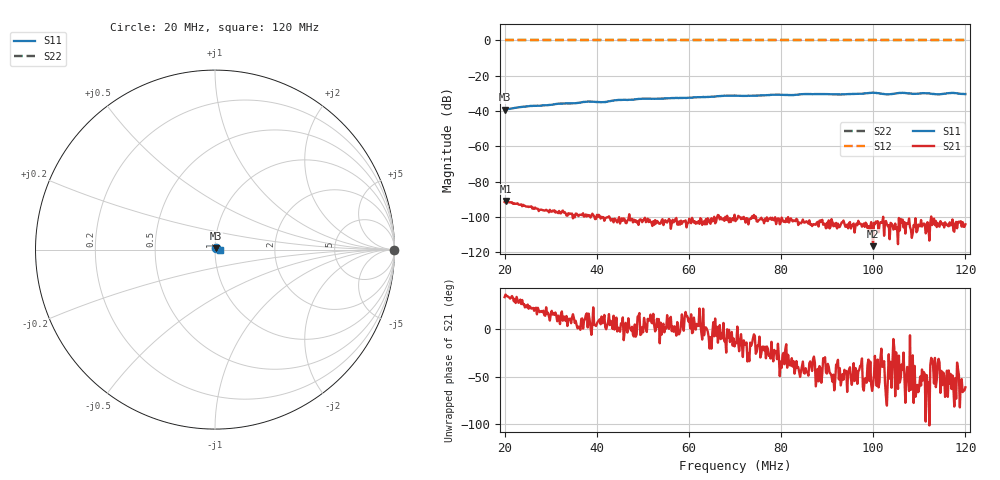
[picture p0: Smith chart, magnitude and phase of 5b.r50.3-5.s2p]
! Anritsu VNA Master:  Model: MS2036C/10/77
! SN:  1601066
! /card0/usr/18may27.balun/5b.r50.3.s2p
! Existing Calibration Information:
! TYPE:  Current Settings,  Active Cal Settings
! TIME:  05/27/2018 04:06:07 PM,  05/27/2018 03:52:12 PM
! INTERNAL TEMP:  51.5 C,  52.5 C
! # POINTS:  500,  500
! START FREQ:  20.000 MHz,  20.000 MHz
! STOP FREQ:  120.000 MHz,  120.000 MHz
! SOURCE POWER:  High,  High
! IFBW:  50 Hz,  50 Hz
! AVG FACTOR:  1 ,  1
! REF PLANE 1:  0 mm,  0 mm
! REF PLANE 2:  0 mm,  0 mm
! CAL TYPE:  Full S11,  Full S11
! CAL METHOD:  SOLT,  SOLT
! CAL LINE TYPE:  Coax,  Coax
! DUT PORT 1:  K-Conn(M),  K-Conn(M)
! DUT PORT 2:  K-Conn(M),  K-Conn(M)
! CAL STATUS:  OK: Accuracy High,  --
# GHZ S DB R 50.0
! FREQ.GHZ  S11DB  S11A  S21DB  S21A  S12DB  S12A  S22DB  S22A
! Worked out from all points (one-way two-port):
!   500 points, 20 MHz to 120 MHz, reference 50 ohm
!   highest |S21| = -91.06 dB at 20.2 MHz (marker M1); lowest = -116.7 dB at 99.96 MHz (marker M2)
!   lowest |S11| = -39.3 dB at 20 MHz (marker M3), VSWR 1.02, Z = 50.6 + j0.886 ohm
!   |S11| at or under -10 dB: start of sweep to end of sweep
!   |S22| runs from 0.0 to 0.0 dB; largest |S21 - S12| = 1
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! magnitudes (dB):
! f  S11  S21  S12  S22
! 20 MHz  -39.3  -91.6  0.0  0.0
! 20.2 MHz  -39.1  -91.1  0.0  0.0
! 24.01 MHz  -37.6  -93.2  0.0  0.0
! 36.83 MHz  -35.0  -99.1  0.0  0.0
! 38.44 MHz  -34.7  -99.2  0.0  0.0
! 41.44 MHz  -35.0  -100.2  0.0  0.0
! 44.45 MHz  -33.8  -103.2  0.0  0.0
! 50.46 MHz  -33.0  -100.5  0.0  0.0
! 53.47 MHz  -33.0  -103.8  0.0  0.0
! 70.1 MHz  -31.3  -102.5  0.0  0.0
! 79.12 MHz  -30.7  -101.9  0.0  0.0
! 81.92 MHz  -31.0  -101.8  0.0  0.0
! 86.73 MHz  -30.4  -105.3  0.0  0.0
! 92.75 MHz  -30.7  -105.7  0.0  0.0
! 99.96 MHz  -29.6  -116.7  0.0  0.0
! 103.4 MHz  -30.6  -104.8  0.0  0.0
! 106.2 MHz  -29.7  -103.5  0.0  0.0
! 109 MHz  -30.3  -105.7  0.0  0.0
! 111.2 MHz  -29.9  -104.1  0.0  0.0
! 114.2 MHz  -30.6  -105.2  0.0  0.0
! 117.2 MHz  -29.7  -101.5  0.0  0.0
! 120 MHz  -30.4  -104.2  0.0  0.0
